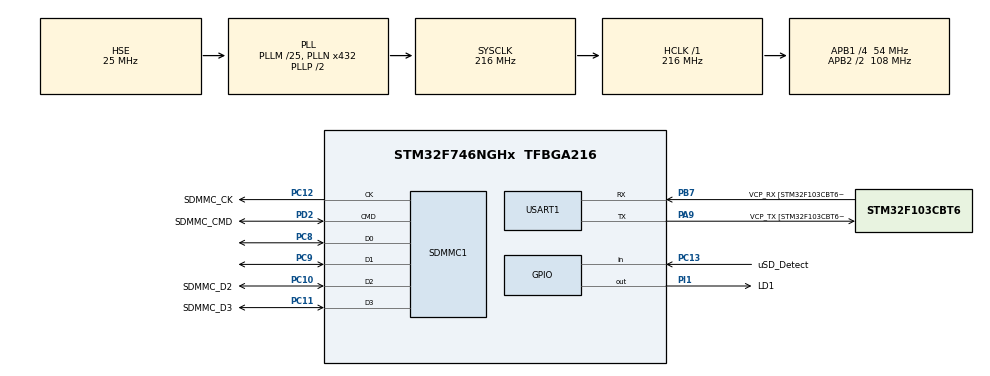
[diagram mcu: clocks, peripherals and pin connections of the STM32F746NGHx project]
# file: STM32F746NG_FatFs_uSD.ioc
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CORTEX_M7.CPU_DCache=Enabled
CORTEX_M7.CPU_ICache=Enabled
CORTEX_M7.default_mode_Activation=1
Dma.Request0=SDMMC1_RX
Dma.Request1=SDMMC1_TX
Dma.SDMMC1_RX.0.Direction=DMA_PERIPH_TO_MEMORY
Dma.SDMMC1_RX.0.FIFOMode=DMA_FIFOMODE_ENABLE
Dma.SDMMC1_RX.0.FIFOThreshold=DMA_FIFO_THRESHOLD_FULL
Dma.SDMMC1_RX.0.Instance=DMA2_Stream3
Dma.SDMMC1_RX.0.MemBurst=DMA_MBURST_INC4
Dma.SDMMC1_RX.0.MemDataAlignment=DMA_MDATAALIGN_WORD
Dma.SDMMC1_RX.0.MemInc=DMA_MINC_ENABLE
Dma.SDMMC1_RX.0.Mode=DMA_PFCTRL
Dma.SDMMC1_RX.0.PeriphBurst=DMA_PBURST_INC4
Dma.SDMMC1_RX.0.PeriphDataAlignment=DMA_PDATAALIGN_WORD
Dma.SDMMC1_RX.0.PeriphInc=DMA_PINC_DISABLE
Dma.SDMMC1_RX.0.Priority=DMA_PRIORITY_LOW
Dma.SDMMC1_TX.1.Direction=DMA_MEMORY_TO_PERIPH
Dma.SDMMC1_TX.1.FIFOMode=DMA_FIFOMODE_ENABLE
Dma.SDMMC1_TX.1.FIFOThreshold=DMA_FIFO_THRESHOLD_FULL
Dma.SDMMC1_TX.1.Instance=DMA2_Stream6
Dma.SDMMC1_TX.1.MemBurst=DMA_MBURST_INC4
Dma.SDMMC1_TX.1.MemDataAlignment=DMA_MDATAALIGN_WORD
Dma.SDMMC1_TX.1.MemInc=DMA_MINC_ENABLE
Dma.SDMMC1_TX.1.Mode=DMA_PFCTRL
Dma.SDMMC1_TX.1.PeriphBurst=DMA_PBURST_INC4
Dma.SDMMC1_TX.1.PeriphDataAlignment=DMA_PDATAALIGN_WORD
Dma.SDMMC1_TX.1.PeriphInc=DMA_PINC_DISABLE
Dma.SDMMC1_TX.1.Priority=DMA_PRIORITY_LOW
FATFS.BSP.number=1
FATFS.USE_DMA_CODE_SD=1
FATFS0.BSP.STBoard=false
FATFS0.BSP.api=Unknown
FATFS0.BSP.instance=PC13
FATFS0.BSP.ip=GPIO
FATFS0.BSP.mode=Input
FATFS0.BSP.name=Detect_SDIO
FATFS0.BSP.solution=PC13
Mcu.Family=STM32F7
Mcu.Name=STM32F746NGHx
Mcu.Package=TFBGA216
NVIC.DMA2_Stream3_IRQn=true\:0\:0\:false\:false\:true\:false\:true\:true
NVIC.DMA2_Stream6_IRQn=true\:0\:0\:false\:false\:true\:false\:true\:true
NVIC.PriorityGroup=NVIC_PRIORITYGROUP_4
NVIC.SDMMC1_IRQn=true\:0\:0\:false\:false\:true\:true\:true\:true
PA13.GPIO_Label=SWDIO
PA13.Mode=Serial_Wire
PA13.Signal=SYS_JTMS-SWDIO
PA14.GPIO_Label=SWCLK
PA14.Mode=Serial_Wire
PA14.Signal=SYS_JTCK-SWCLK
PA9.GPIO_Label=VCP_TX [STM32F103CBT6_PA3]
PA9.Mode=Asynchronous
PA9.Signal=USART1_TX
PB3.GPIO_Label=SWO
PB3.Signal=SYS_JTDO-SWO
PB7.GPIO_Label=VCP_RX [STM32F103CBT6_PA2]
PB7.Mode=Asynchronous
PB7.Signal=USART1_RX
PC10.GPIO_Label=SDMMC_D2
PC10.Mode=SD_4_bits_Wide_bus
PC10.Signal=SDMMC1_D2
PC11.GPIO_Label=SDMMC_D3
PC11.Mode=SD_4_bits_Wide_bus
PC11.Signal=SDMMC1_D3
PC12.GPIO_Label=SDMMC_CK
PC12.Mode=SD_4_bits_Wide_bus
PC12.Signal=SDMMC1_CK
PC13.GPIO_Label=uSD_Detect
PC13.Signal=GPIO_Input
PC14/OSC32_IN.Mode=LSE-External-Oscillator
PC14/OSC32_IN.Signal=RCC_OSC32_IN
PC15/OSC32_OUT.GPIO_Label=RCC_OSC32_IN
PC15/OSC32_OUT.Mode=LSE-External-Oscillator
PC15/OSC32_OUT.Signal=RCC_OSC32_OUT
PC8.Mode=SD_4_bits_Wide_bus
PC8.Signal=SDMMC1_D0
PC9.Mode=SD_4_bits_Wide_bus
PC9.Signal=SDMMC1_D1
PD2.GPIO_Label=SDMMC_CMD
PD2.Mode=SD_4_bits_Wide_bus
PD2.Signal=SDMMC1_CMD
PH0/OSC_IN.GPIO_Label=RCC_OSC32_OUT
PH0/OSC_IN.Mode=HSE-External-Oscillator
PH0/OSC_IN.Signal=RCC_OSC_IN
PH1/OSC_OUT.GPIO_Label=OSC_25M [NZ2520SB-25.00M_OUT]
PH1/OSC_OUT.Mode=HSE-External-Oscillator
PH1/OSC_OUT.Signal=RCC_OSC_OUT
PI1.GPIO_Label=LD1
PI1.Signal=GPIO_Output
ProjectManager.HeapSize=0x400
ProjectManager.StackSize=0x800
ProjectManager.TargetToolchain=CMake
RCC.AHBFreq_Value=216000000
RCC.APB1CLKDivider=RCC_HCLK_DIV4
RCC.APB1Freq_Value=54000000
RCC.APB1TimFreq_Value=108000000
RCC.APB2CLKDivider=RCC_HCLK_DIV2
RCC.APB2Freq_Value=108000000
RCC.APB2TimFreq_Value=216000000
RCC.CortexFreq_Value=216000000
RCC.HCLKFreq_Value=216000000
RCC.HSE_VALUE=25000000
RCC.HSI_VALUE=16000000
RCC.PLL48CLockSelection=RCC_CLK48SOURCE_PLLSAIP
RCC.PLLI2SN=100
RCC.PLLM=25
RCC.PLLN=432
RCC.PLLQ=9
RCC.PLLSAIN=100
RCC.PLLSourceVirtual=RCC_PLLSOURCE_HSE
RCC.SDMMCClockSelection=RCC_SDMMC1CLKSOURCE_CLK48
RCC.SYSCLKFreq_VALUE=216000000
RCC.SYSCLKSource=RCC_SYSCLKSOURCE_PLLCLK
RCC.USBFreq_Value=50000000
RCC.VCOOutputFreq_Value=432000000
USART1.VirtualMode-Asynchronous=VM_ASYNC
VP_FATFS_VS_SDIO.Mode=SDIO
board=custom

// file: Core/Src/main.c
/* USER CODE BEGIN Header */
/**
 ******************************************************************************
 * @file           : main.c
 * @brief          : Main program body
 ******************************************************************************
 * @attention
 *
 * Copyright (c) 2024 STMicroelectronics.
 * All rights reserved.
 *
 * This software is licensed under terms that can be found in the LICENSE file
 * in the root directory of this software component.`
 * If no LICENSE file comes with this software, it is provided AS-IS.
 *
 ******************************************************************************
 */
/* USER CODE END Header */
#include "main.h"
#include "fatfs.h"

/* USER CODE BEGIN Includes */

#include <stdio.h>

/* USER CODE END Includes */

/* USER CODE BEGIN PM */

#ifdef __GNUC__
#define PUTCHAR_PROTOTYPE int __io_putchar(int ch)
#else
#define PUTCHAR_PROTOTYPE int fputc(int ch, FILE* f)
#endif /* __GNUC__ */

/* USER CODE END PM */

SD_HandleTypeDef hsd1;
DMA_HandleTypeDef hdma_sdmmc1_rx;
DMA_HandleTypeDef hdma_sdmmc1_tx;

UART_HandleTypeDef huart1;

/* USER CODE BEGIN PV */

uint8_t workBuffer[_MAX_SS];

/* USER CODE END PV */

void SystemClock_Config(void);
static void MPU_Config(void);
static void MX_GPIO_Init(void);
static void MX_DMA_Init(void);
static void MX_SDMMC1_SD_Init(void);
static void MX_USART1_UART_Init(void);

int main(void)
{

  /* USER CODE BEGIN 1 */

  FRESULT res = FR_NOT_READY;                       /* FatFs function common result code */
  uint32_t bytesToWritten = 0;                      /* File write counts */
  uint32_t bytesToRead = 0;                         /* File read counts */
  uint8_t filePath[] = "STM32.TXT";                 /* File path buffer */
  uint8_t writeText[] = "STM32F746G FatFs + uSD";   /* File write buffer */
  uint8_t readText[100];                            /* File read buffer */

  /* USER CODE END 1 */

  /* MPU Configuration--------------------------------------------------------*/
  MPU_Config();

  /* Enable the CPU Cache */

  /* Enable I-Cache---------------------------------------------------------*/
  SCB_EnableICache();

  /* Enable D-Cache---------------------------------------------------------*/
  SCB_EnableDCache();

  /* MCU Configuration--------------------------------------------------------*/

  /* Reset of all peripherals, Initializes the Flash interface and the Systick. */
  HAL_Init();

  /* Configure the system clock */
  SystemClock_Config();

  /* USER CODE BEGIN SysInit */

  /* STM32F7xx HAL library initialization:
    - Configure the Flash ART accelerator on ITCM interface
    - Configure the Systick to generate an interrupt each 1 msec
    - Set NVIC Group Priority to 4
    - Global MSP (MCU Support Package) initialization
  */

  /* USER CODE END SysInit */

  /* Initialize all configured peripherals */
  MX_GPIO_Init();
  MX_DMA_Init();
  MX_SDMMC1_SD_Init();
  MX_USART1_UART_Init();
  /* USER CODE BEGIN 2 */

  /*##-1- Link the micro SD disk I/O driver ##################################*/
  if (FATFS_LinkDriver(&SD_Driver, SDPath) == 0)
  {
    /*##-2- Register the file system object to the FatFs module ##############*/
    if (f_mount(&SDFatFS, (TCHAR const*)SDPath, 0) != FR_OK)
    {
      /* FatFs Initialization Error */
      printf("FatFs: Failed to mount SD Card!!\n");
      Error_Handler();
    }
    else
    {
      printf("FatFs: Successfully mounted SD Card\n");

      /*##-3- Create a FAT file system (format) on the logical drive #########*/
      /* WARNING: Formatting the uSD card will delete all content on the device */
      printf("FatFs: Start formatting SD Card...\n");
      if (f_mkfs((TCHAR const*)SDPath, FM_ANY, 0, workBuffer, sizeof(workBuffer)) != FR_OK)
      {
        /* FatFs Format Error */
        printf("FatFs: Failed to format SD Card!!\n");
        Error_Handler();
      }
      else
      {
        /*##-4- Create and Open a new text file object with write access #####*/
        printf("FatFs: Successfully to format SD Card!!\n");
        if (f_open(&SDFile, (const TCHAR*)filePath, FA_CREATE_ALWAYS | FA_WRITE) != FR_OK)
        {
          /* 'STM32.TXT' file Open for write Error */
          printf("FatFs: Failed to open file for writing!!\n");
          Error_Handler();
        }
        else
        {
          printf("FatFs: Successfully to opened file!!\n");

          /*##-5- Write data to the text file ################################*/
          res = f_write(&SDFile, writeText, sizeof(writeText), (void*)&bytesToWritten);
          printf("FatFs: Write '%s' -> %s\n", writeText, filePath);

          if ((bytesToWritten == 0) || (res != FR_OK))
          {
            /* 'STM32.TXT' file Write or EOF Error */
            printf("FatFs: Failed to write data to file!!\n");
            Error_Handler();
          }
          else
          {
            printf("FatFs: Data successfully written to file!!\n");

            /*##-6- Close the open text file #################################*/
            f_close(&SDFile);

            /*##-7- Open the text file object with read access ###############*/
            if (f_open(&SDFile, (const TCHAR*)filePath, FA_READ) != FR_OK)
            {
              /* 'STM32.TXT' file Open for read Error */
              printf("FatFs: Failed to open file for reading!!\n");
              Error_Handler();
            }
            else
            {
              /*##-8- Read data from the text file ###########################*/
              res = f_read(&SDFile, readText, sizeof(readText), (UINT*)&bytesToRead);

              if ((bytesToRead == 0) || (res != FR_OK))
              {
                /* 'STM32.TXT' file Read or EOF Error */
                printf("FatFs: Failed to read data from file!!\n");
                Error_Handler();
              }
              else
              {
                printf("FatFs: Data successfully read from file!!\n");

                printf("FatFs: Read from file %s -> '%s'\n", filePath, readText);
                /*##-9- Close the open text file #############################*/
                f_close(&SDFile);

                /*##-10- Compare read data with the expected data ############*/
                if ((bytesToRead != bytesToWritten))
                {
                  /* Read data is different from the expected data */
                  printf("FatFs: Read data differs from the expected data!!\n");
                  Error_Handler();
                }
                else
                {
                  /* Success of the demo: no error occurrence */
                  HAL_GPIO_WritePin(LD1_GPIO_Port, LD1_Pin, GPIO_PIN_SET);
                  printf("FatFs: Demo executed successfully!!\n");
                }
              }
            }
          }
        }
      }
    }
  }

  /*##-11- Unlink the micro SD disk I/O driver ###############################*/
  FATFS_UnLinkDriver(SDPath);

  /* USER CODE END 2 */

  /* Infinite loop */
  while (1)
  {

  }
}

void SystemClock_Config(void)
{
  RCC_OscInitTypeDef RCC_OscInitStruct = {0};
  RCC_ClkInitTypeDef RCC_ClkInitStruct = {0};

  /** Configure LSE Drive Capability
  */
  HAL_PWR_EnableBkUpAccess();

  /** Configure the main internal regulator output voltage
  */
  __HAL_RCC_PWR_CLK_ENABLE();
  __HAL_PWR_VOLTAGESCALING_CONFIG(PWR_REGULATOR_VOLTAGE_SCALE1);

  /** Initializes the RCC Oscillators according to the specified parameters
  * in the RCC_OscInitTypeDef structure.
  */
  RCC_OscInitStruct.OscillatorType = RCC_OSCILLATORTYPE_HSE;
  RCC_OscInitStruct.HSEState = RCC_HSE_ON;
  RCC_OscInitStruct.PLL.PLLState = RCC_PLL_ON;
  RCC_OscInitStruct.PLL.PLLSource = RCC_PLLSOURCE_HSE;
  RCC_OscInitStruct.PLL.PLLM = 25;
  RCC_OscInitStruct.PLL.PLLN = 432;
  RCC_OscInitStruct.PLL.PLLP = RCC_PLLP_DIV2;
  RCC_OscInitStruct.PLL.PLLQ = 9;
  if (HAL_RCC_OscConfig(&RCC_OscInitStruct) != HAL_OK)
  {
    Error_Handler();
  }

  /** Activate the Over-Drive mode
  */
  if (HAL_PWREx_EnableOverDrive() != HAL_OK)
  {
    Error_Handler();
  }

  /** Initializes the CPU, AHB and APB buses clocks
  */
  RCC_ClkInitStruct.ClockType = RCC_CLOCKTYPE_HCLK|RCC_CLOCKTYPE_SYSCLK
                              |RCC_CLOCKTYPE_PCLK1|RCC_CLOCKTYPE_PCLK2;
  RCC_ClkInitStruct.SYSCLKSource = RCC_SYSCLKSOURCE_PLLCLK;
  RCC_ClkInitStruct.AHBCLKDivider = RCC_SYSCLK_DIV1;
  RCC_ClkInitStruct.APB1CLKDivider = RCC_HCLK_DIV4;
  RCC_ClkInitStruct.APB2CLKDivider = RCC_HCLK_DIV2;

  if (HAL_RCC_ClockConfig(&RCC_ClkInitStruct, FLASH_LATENCY_7) != HAL_OK)
  {
    Error_Handler();
  }
}

static void MX_SDMMC1_SD_Init(void)
{

  hsd1.Instance = SDMMC1;
  hsd1.Init.ClockEdge = SDMMC_CLOCK_EDGE_RISING;
  hsd1.Init.ClockBypass = SDMMC_CLOCK_BYPASS_DISABLE;
  hsd1.Init.ClockPowerSave = SDMMC_CLOCK_POWER_SAVE_DISABLE;
  // REMARK: Start with 1B instead 4B. Later "SD_Widebus_Enable" command makes it 4B
  hsd1.Init.BusWide = SDMMC_BUS_WIDE_1B;
  hsd1.Init.HardwareFlowControl = SDMMC_HARDWARE_FLOW_CONTROL_DISABLE;
  hsd1.Init.ClockDiv = 0;

}

static void MX_USART1_UART_Init(void)
{

  huart1.Instance = USART1;
  huart1.Init.BaudRate = 115200;
  huart1.Init.WordLength = UART_WORDLENGTH_8B;
  huart1.Init.StopBits = UART_STOPBITS_1;
  huart1.Init.Parity = UART_PARITY_NONE;
  huart1.Init.Mode = UART_MODE_TX_RX;
  huart1.Init.HwFlowCtl = UART_HWCONTROL_NONE;
  huart1.Init.OverSampling = UART_OVERSAMPLING_16;
  huart1.Init.OneBitSampling = UART_ONE_BIT_SAMPLE_DISABLE;
  huart1.AdvancedInit.AdvFeatureInit = UART_ADVFEATURE_NO_INIT;
  if (HAL_UART_Init(&huart1) != HAL_OK)
  {
    Error_Handler();
  }

}

static void MX_DMA_Init(void)
{

  /* DMA controller clock enable */
  __HAL_RCC_DMA2_CLK_ENABLE();

  /* DMA interrupt init */
  /* DMA2_Stream3_IRQn interrupt configuration */
  HAL_NVIC_SetPriority(DMA2_Stream3_IRQn, 0, 0);
  HAL_NVIC_EnableIRQ(DMA2_Stream3_IRQn);
  /* DMA2_Stream6_IRQn interrupt configuration */
  HAL_NVIC_SetPriority(DMA2_Stream6_IRQn, 0, 0);
  HAL_NVIC_EnableIRQ(DMA2_Stream6_IRQn);

}

static void MX_GPIO_Init(void)
{
  GPIO_InitTypeDef GPIO_InitStruct = {0};

  /* GPIO Ports Clock Enable */
  __HAL_RCC_GPIOE_CLK_ENABLE();
  __HAL_RCC_GPIOG_CLK_ENABLE();
  __HAL_RCC_GPIOB_CLK_ENABLE();
  __HAL_RCC_GPIOD_CLK_ENABLE();
  __HAL_RCC_GPIOC_CLK_ENABLE();
  __HAL_RCC_GPIOA_CLK_ENABLE();
  __HAL_RCC_GPIOJ_CLK_ENABLE();
  __HAL_RCC_GPIOI_CLK_ENABLE();
  __HAL_RCC_GPIOK_CLK_ENABLE();
  __HAL_RCC_GPIOF_CLK_ENABLE();
  __HAL_RCC_GPIOH_CLK_ENABLE();

  /*Configure GPIO pin Output Level */
  HAL_GPIO_WritePin(LD1_GPIO_Port, LD1_Pin, GPIO_PIN_RESET);

  /*Configure GPIO pins : PE4 PE3 PE2 PE1
                           PE0 PE5 PE6 PE8
                           PE9 PE11 PE14 PE7
                           PE10 PE12 PE15 PE13 */
  GPIO_InitStruct.Pin = GPIO_PIN_4|GPIO_PIN_3|GPIO_PIN_2|GPIO_PIN_1
                          |GPIO_PIN_0|GPIO_PIN_5|GPIO_PIN_6|GPIO_PIN_8
                          |GPIO_PIN_9|GPIO_PIN_11|GPIO_PIN_14|GPIO_PIN_7
                          |GPIO_PIN_10|GPIO_PIN_12|GPIO_PIN_15|GPIO_PIN_13;
  GPIO_InitStruct.Mode = GPIO_MODE_ANALOG;
  GPIO_InitStruct.Pull = GPIO_NOPULL;
  HAL_GPIO_Init(GPIOE, &GPIO_InitStruct);

  /*Configure GPIO pins : PG14 PG13 PG15 PG11
                           PG12 PG10 PG9 PG8
                           PG7 PG6 PG1 PG3
                           PG2 PG0 PG5 PG4 */
  GPIO_InitStruct.Pin = GPIO_PIN_14|GPIO_PIN_13|GPIO_PIN_15|GPIO_PIN_11
                          |GPIO_PIN_12|GPIO_PIN_10|GPIO_PIN_9|GPIO_PIN_8
                          |GPIO_PIN_7|GPIO_PIN_6|GPIO_PIN_1|GPIO_PIN_3
                          |GPIO_PIN_2|GPIO_PIN_0|GPIO_PIN_5|GPIO_PIN_4;
  GPIO_InitStruct.Mode = GPIO_MODE_ANALOG;
  GPIO_InitStruct.Pull = GPIO_NOPULL;
  HAL_GPIO_Init(GPIOG, &GPIO_InitStruct);

  /*Configure GPIO pins : PB8 PB5 PB4 PB9
                           PB6 PB13 PB12 PB2
                           PB10 PB1 PB0 PB11
                           PB14 PB15 */
  GPIO_InitStruct.Pin = GPIO_PIN_8|GPIO_PIN_5|GPIO_PIN_4|GPIO_PIN_9
                          |GPIO_PIN_6|GPIO_PIN_13|GPIO_PIN_12|GPIO_PIN_2
                          |GPIO_PIN_10|GPIO_PIN_1|GPIO_PIN_0|GPIO_PIN_11
                          |GPIO_PIN_14|GPIO_PIN_15;
  GPIO_InitStruct.Mode = GPIO_MODE_ANALOG;
  GPIO_InitStruct.Pull = GPIO_NOPULL;
  HAL_GPIO_Init(GPIOB, &GPIO_InitStruct);

  /*Configure GPIO pins : PD7 PD6 PD0 PD5
                           PD3 PD1 PD4 PD15
                           PD10 PD14 PD9 PD8
                           PD12 PD13 PD11 */
  GPIO_InitStruct.Pin = GPIO_PIN_7|GPIO_PIN_6|GPIO_PIN_0|GPIO_PIN_5
                          |GPIO_PIN_3|GPIO_PIN_1|GPIO_PIN_4|GPIO_PIN_15
                          |GPIO_PIN_10|GPIO_PIN_14|GPIO_PIN_9|GPIO_PIN_8
                          |GPIO_PIN_12|GPIO_PIN_13|GPIO_PIN_11;
  GPIO_InitStruct.Mode = GPIO_MODE_ANALOG;
  GPIO_InitStruct.Pull = GPIO_NOPULL;
  HAL_GPIO_Init(GPIOD, &GPIO_InitStruct);

  /*Configure GPIO pins : PA15 PA12 PA11 PA10
                           PA8 PA1 PA0 PA4
                           PA2 PA6 PA5 PA3
                           PA7 */
  GPIO_InitStruct.Pin = GPIO_PIN_15|GPIO_PIN_12|GPIO_PIN_11|GPIO_PIN_10
                          |GPIO_PIN_8|GPIO_PIN_1|GPIO_PIN_0|GPIO_PIN_4
                          |GPIO_PIN_2|GPIO_PIN_6|GPIO_PIN_5|GPIO_PIN_3
                          |GPIO_PIN_7;
  GPIO_InitStruct.Mode = GPIO_MODE_ANALOG;
  GPIO_InitStruct.Pull = GPIO_NOPULL;
  HAL_GPIO_Init(GPIOA, &GPIO_InitStruct);

  /*Configure GPIO pins : PJ13 PJ12 PJ14 PJ15
                           PJ11 PJ8 PJ10 PJ7
                           PJ9 PJ6 PJ4 PJ5
                           PJ3 PJ2 PJ0 PJ1 */
  GPIO_InitStruct.Pin = GPIO_PIN_13|GPIO_PIN_12|GPIO_PIN_14|GPIO_PIN_15
                          |GPIO_PIN_11|GPIO_PIN_8|GPIO_PIN_10|GPIO_PIN_7
                          |GPIO_PIN_9|GPIO_PIN_6|GPIO_PIN_4|GPIO_PIN_5
                          |GPIO_PIN_3|GPIO_PIN_2|GPIO_PIN_0|GPIO_PIN_1;
  GPIO_InitStruct.Mode = GPIO_MODE_ANALOG;
  GPIO_InitStruct.Pull = GPIO_NOPULL;
  HAL_GPIO_Init(GPIOJ, &GPIO_InitStruct);

  /*Configure GPIO pins : PI8 PI4 PI3 PI2
                           PI5 PI7 PI10 PI6
                           PI12 PI9 PI0 PI11
                           PI13 PI15 PI14 */
  GPIO_InitStruct.Pin = GPIO_PIN_8|GPIO_PIN_4|GPIO_PIN_3|GPIO_PIN_2
                          |GPIO_PIN_5|GPIO_PIN_7|GPIO_PIN_10|GPIO_PIN_6
                          |GPIO_PIN_12|GPIO_PIN_9|GPIO_PIN_0|GPIO_PIN_11
                          |GPIO_PIN_13|GPIO_PIN_15|GPIO_PIN_14;
  GPIO_InitStruct.Mode = GPIO_MODE_ANALOG;
  GPIO_InitStruct.Pull = GPIO_NOPULL;
  HAL_GPIO_Init(GPIOI, &GPIO_InitStruct);

  /*Configure GPIO pins : PK7 PK6 PK5 PK4
                           PK3 PK1 PK2 PK0 */
  GPIO_InitStruct.Pin = GPIO_PIN_7|GPIO_PIN_6|GPIO_PIN_5|GPIO_PIN_4
                          |GPIO_PIN_3|GPIO_PIN_1|GPIO_PIN_2|GPIO_PIN_0;
  GPIO_InitStruct.Mode = GPIO_MODE_ANALOG;
  GPIO_InitStruct.Pull = GPIO_NOPULL;
  HAL_GPIO_Init(GPIOK, &GPIO_InitStruct);

  /*Configure GPIO pin : uSD_Detect_Pin */
  GPIO_InitStruct.Pin = uSD_Detect_Pin;
  GPIO_InitStruct.Mode = GPIO_MODE_INPUT;
  GPIO_InitStruct.Pull = GPIO_NOPULL;
  HAL_GPIO_Init(uSD_Detect_GPIO_Port, &GPIO_InitStruct);

  /*Configure GPIO pins : PF0 PF1 PF2 PF3
                           PF4 PF7 PF6 PF5
                           PF10 PF9 PF8 PF12
                           PF15 PF13 PF14 PF11 */
  GPIO_InitStruct.Pin = GPIO_PIN_0|GPIO_PIN_1|GPIO_PIN_2|GPIO_PIN_3
                          |GPIO_PIN_4|GPIO_PIN_7|GPIO_PIN_6|GPIO_PIN_5
                          |GPIO_PIN_10|GPIO_PIN_9|GPIO_PIN_8|GPIO_PIN_12
                          |GPIO_PIN_15|GPIO_PIN_13|GPIO_PIN_14|GPIO_PIN_11;
  GPIO_InitStruct.Mode = GPIO_MODE_ANALOG;
  GPIO_InitStruct.Pull = GPIO_NOPULL;
  HAL_GPIO_Init(GPIOF, &GPIO_InitStruct);

  /*Configure GPIO pins : PH15 PH13 PH14 PH4
                           PH5 PH3 PH2 PH12
                           PH7 PH9 PH11 PH6
                           PH8 PH10 */
  GPIO_InitStruct.Pin = GPIO_PIN_15|GPIO_PIN_13|GPIO_PIN_14|GPIO_PIN_4
                          |GPIO_PIN_5|GPIO_PIN_3|GPIO_PIN_2|GPIO_PIN_12
                          |GPIO_PIN_7|GPIO_PIN_9|GPIO_PIN_11|GPIO_PIN_6
                          |GPIO_PIN_8|GPIO_PIN_10;
  GPIO_InitStruct.Mode = GPIO_MODE_ANALOG;
  GPIO_InitStruct.Pull = GPIO_NOPULL;
  HAL_GPIO_Init(GPIOH, &GPIO_InitStruct);

  /*Configure GPIO pin : LD1_Pin */
  GPIO_InitStruct.Pin = LD1_Pin;
  GPIO_InitStruct.Mode = GPIO_MODE_OUTPUT_PP;
  GPIO_InitStruct.Pull = GPIO_NOPULL;
  GPIO_InitStruct.Speed = GPIO_SPEED_FREQ_LOW;
  HAL_GPIO_Init(LD1_GPIO_Port, &GPIO_InitStruct);

  /*Configure GPIO pins : PC7 PC6 PC3 PC0
                           PC1 PC2 PC4 PC5 */
  GPIO_InitStruct.Pin = GPIO_PIN_7|GPIO_PIN_6|GPIO_PIN_3|GPIO_PIN_0
                          |GPIO_PIN_1|GPIO_PIN_2|GPIO_PIN_4|GPIO_PIN_5;
  GPIO_InitStruct.Mode = GPIO_MODE_ANALOG;
  GPIO_InitStruct.Pull = GPIO_NOPULL;
  HAL_GPIO_Init(GPIOC, &GPIO_InitStruct);

}

/* USER CODE BEGIN 4 */

/**
 * @brief  Retargets the C library printf function to the USART.
 * @param  None
 * @retval None
 */
PUTCHAR_PROTOTYPE
{
  HAL_UART_Transmit(&huart1, (uint8_t*)&ch, 1, HAL_MAX_DELAY);
  return ch;
}

/* USER CODE END 4 */

 /* MPU Configuration */

void MPU_Config(void)
{
  MPU_Region_InitTypeDef MPU_InitStruct = {0};

  /* Disables the MPU */
  HAL_MPU_Disable();

  /** Initializes and configures the Region and the memory to be protected
  */
  MPU_InitStruct.Enable = MPU_REGION_ENABLE;
  MPU_InitStruct.Number = MPU_REGION_NUMBER0;
  MPU_InitStruct.BaseAddress = 0x0;
  MPU_InitStruct.Size = MPU_REGION_SIZE_4GB;
  MPU_InitStruct.SubRegionDisable = 0x87;
  MPU_InitStruct.TypeExtField = MPU_TEX_LEVEL0;
  MPU_InitStruct.AccessPermission = MPU_REGION_NO_ACCESS;
  MPU_InitStruct.DisableExec = MPU_INSTRUCTION_ACCESS_DISABLE;
  MPU_InitStruct.IsShareable = MPU_ACCESS_SHAREABLE;
  MPU_InitStruct.IsCacheable = MPU_ACCESS_NOT_CACHEABLE;
  MPU_InitStruct.IsBufferable = MPU_ACCESS_NOT_BUFFERABLE;

  HAL_MPU_ConfigRegion(&MPU_InitStruct);
  /* Enables the MPU */
  HAL_MPU_Enable(MPU_PRIVILEGED_DEFAULT);

}

void Error_Handler(void)
{
  /* USER CODE BEGIN Error_Handler_Debug */
  /* User can add his own implementation to report the HAL error return state */
  HAL_GPIO_WritePin(LD1_GPIO_Port, LD1_Pin, GPIO_PIN_SET);
  while (1)
  {
    HAL_GPIO_TogglePin(LD1_GPIO_Port, LD1_Pin);
    HAL_Delay(100);
  }
  /* USER CODE END Error_Handler_Debug */
}
